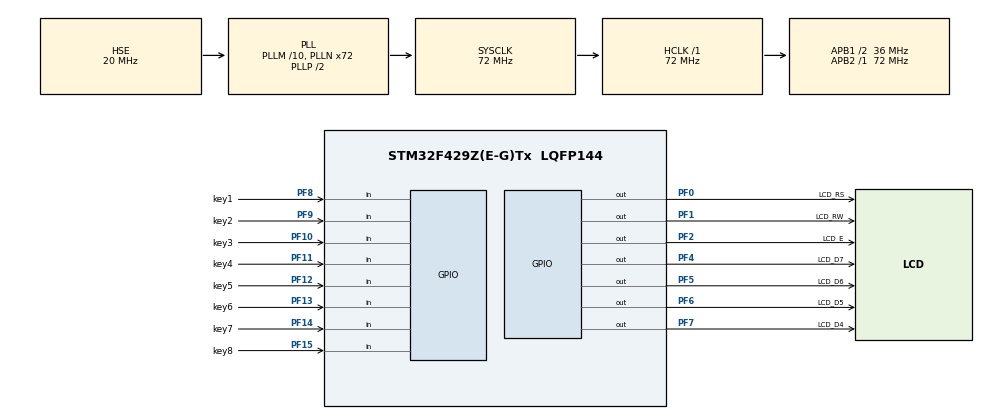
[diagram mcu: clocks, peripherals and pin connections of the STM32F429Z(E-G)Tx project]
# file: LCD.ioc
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Mcu.Family=STM32F4
Mcu.Name=STM32F429Z(E-G)Tx
Mcu.Package=LQFP144
NVIC.PriorityGroup=NVIC_PRIORITYGROUP_4
PF0.GPIO_Label=LCD_RS
PF0.Signal=GPIO_Output
PF1.GPIO_Label=LCD_RW
PF1.Signal=GPIO_Output
PF10.GPIO_Label=key3
PF10.GPIO_PuPd=GPIO_PULLUP
PF10.Signal=GPIO_Input
PF11.GPIO_Label=key4
PF11.GPIO_PuPd=GPIO_PULLUP
PF11.Signal=GPIO_Input
PF12.GPIO_Label=key5
PF12.GPIO_PuPd=GPIO_PULLUP
PF12.Signal=GPIO_Input
PF13.GPIO_Label=key6
PF13.GPIO_PuPd=GPIO_PULLUP
PF13.Signal=GPIO_Input
PF14.GPIO_Label=key7
PF14.GPIO_PuPd=GPIO_PULLUP
PF14.Signal=GPIO_Input
PF15.GPIO_Label=key8
PF15.GPIO_PuPd=GPIO_PULLUP
PF15.Signal=GPIO_Input
PF2.GPIO_Label=LCD_E
PF2.Signal=GPIO_Output
PF4.GPIO_Label=LCD_D7
PF4.Signal=GPIO_Output
PF5.GPIO_Label=LCD_D6
PF5.Signal=GPIO_Output
PF6.GPIO_Label=LCD_D5
PF6.Signal=GPIO_Output
PF7.GPIO_Label=LCD_D4
PF7.Signal=GPIO_Output
PF8.GPIO_Label=key1
PF8.GPIO_PuPd=GPIO_PULLUP
PF8.Signal=GPIO_Input
PF9.GPIO_Label=key2
PF9.GPIO_PuPd=GPIO_PULLUP
PF9.Signal=GPIO_Input
PH0/OSC_IN.Mode=HSE-External-Oscillator
PH0/OSC_IN.Signal=RCC_OSC_IN
PH1/OSC_OUT.Mode=HSE-External-Oscillator
PH1/OSC_OUT.Signal=RCC_OSC_OUT
ProjectManager.HeapSize=0x200
ProjectManager.StackSize=0x400
ProjectManager.TargetToolchain=MDK-ARM V5
RCC.48MHZClocksFreq_Value=36000000
RCC.AHBFreq_Value=72000000
RCC.APB1CLKDivider=RCC_HCLK_DIV2
RCC.APB1Freq_Value=36000000
RCC.APB1TimFreq_Value=72000000
RCC.APB2Freq_Value=72000000
RCC.APB2TimFreq_Value=72000000
RCC.CortexFreq_Value=72000000
RCC.HCLKFreq_Value=72000000
RCC.HSE_VALUE=20000000
RCC.HSI_VALUE=16000000
RCC.LSE_VALUE=32768
RCC.PLLM=10
RCC.PLLN=72
RCC.PLLSourceVirtual=RCC_PLLSOURCE_HSE
RCC.SYSCLKFreq_VALUE=72000000
RCC.SYSCLKSource=RCC_SYSCLKSOURCE_PLLCLK
RCC.VCOOutputFreq_Value=144000000
board=custom

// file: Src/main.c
/* USER CODE BEGIN Header */
/**
  ******************************************************************************
  * @file           : main.c
  * @brief          : Main program body
  ******************************************************************************
  * @attention
  *
  * <h2><center>&copy; Copyright (c) 2019 STMicroelectronics.
  * All rights reserved.</center></h2>
  *
  * This software component is licensed by ST under BSD 3-Clause license,
  * the "License"; You may not use this file except in compliance with the
  * License. You may obtain a copy of the License at:
  *                        opensource.org/licenses/BSD-3-Clause
  *
  ******************************************************************************
  */
/* USER CODE END Header */

#include "main.h"

/* USER CODE BEGIN Includes */
#include "LCD_Character.h"
#include "tm_stm32f4_hd44780.h"
#include "stdio.h"
#include "stdlib.h"
/* USER CODE END Includes */

/* USER CODE BEGIN PV */

char		i,j;
/* USER CODE END PV */

void SystemClock_Config(void);
static void MX_GPIO_Init(void);
/* USER CODE BEGIN PFP */
void ShowNumberOnLCD1(char n);
void ShowNumberOnLCD2(char n);
char ReadButton(void);
/* USER CODE END PFP */

int main(void)
{

  /* MCU Configuration--------------------------------------------------------*/

  /* Reset of all peripherals, Initializes the Flash interface and the Systick. */
  HAL_Init();

  /* Configure the system clock */
  SystemClock_Config();

  /* Initialize all configured peripherals */
  MX_GPIO_Init();
  /* USER CODE BEGIN 2 */
	TM_HD44780_Init( 16 , 2 );
  //TM_HD44780_Puts( 0 , 0 , "1 2 3 4 5 6 7 8 9 10 11 12 13 14" );
	//HAL_Delay(1000);
	HAL_Delay(1000);
	TM_HD44780_Puts( 3 , 0 , "Starting..." );
	TM_HD44780_Puts( 4 , 1 , "ARC1400" );
	HAL_Delay(2000);
	TM_HD44780_DisplayOff();
	TM_HD44780_Clear();
	TM_HD44780_DisplayOn();

	TM_HD44780_Puts( 0 , 0 ,"FREQ : ");
	TM_HD44780_Puts( 0 , 1 , "Channel : " );
  /* USER CODE END 2 */

  /* Infinite loop */
  /* USER CODE BEGIN WHILE */
  while (1)
  {

		/*********************Frequency***********************/

		if(ReadButton()==1)
		{
			while(ReadButton()==1);
			i++;
      if(i==100)	i=0;
      ShowNumberOnLCD1(i);
		}
		else if(ReadButton()==2)
    {
       while(ReadButton()==2);
       i--;
       if(i==255)	i=99;
       ShowNumberOnLCD1(i);
     }
		else if(ReadButton()==3)
		{
			while(ReadButton()==3);
			j++;
      if(j==10)	j=0;
      ShowNumberOnLCD2(j);
		}
		else if(ReadButton()==4)
    {
       while(ReadButton()==4);
       j--;
       if(j==255)	j=9;
       ShowNumberOnLCD2(j);
    }

		/*********************Channels************************/
		if((HAL_GPIO_ReadPin(key1_GPIO_Port,key1_Pin)) == 0)
		{
			TM_HD44780_Puts( 10 , 1 , "1" );
    }
		if((HAL_GPIO_ReadPin(key2_GPIO_Port,key2_Pin)) == 0)
		{
			TM_HD44780_Puts( 10 , 1 , "2");
		}
		if((HAL_GPIO_ReadPin(key3_GPIO_Port,key3_Pin)) == 0)
		{
			TM_HD44780_Puts( 10 , 1 , "3");
		}
		if((HAL_GPIO_ReadPin(key4_GPIO_Port,key4_Pin)) == 0)
		{
			TM_HD44780_Puts( 10 , 1 , "4");
		}

    /* USER CODE END WHILE */

  }
}

void SystemClock_Config(void)
{
  RCC_OscInitTypeDef RCC_OscInitStruct = {0};
  RCC_ClkInitTypeDef RCC_ClkInitStruct = {0};

  /** Configure the main internal regulator output voltage
  */
  __HAL_RCC_PWR_CLK_ENABLE();
  __HAL_PWR_VOLTAGESCALING_CONFIG(PWR_REGULATOR_VOLTAGE_SCALE3);
  /** Initializes the CPU, AHB and APB busses clocks
  */
  RCC_OscInitStruct.OscillatorType = RCC_OSCILLATORTYPE_HSE;
  RCC_OscInitStruct.HSEState = RCC_HSE_ON;
  RCC_OscInitStruct.PLL.PLLState = RCC_PLL_ON;
  RCC_OscInitStruct.PLL.PLLSource = RCC_PLLSOURCE_HSE;
  RCC_OscInitStruct.PLL.PLLM = 10;
  RCC_OscInitStruct.PLL.PLLN = 72;
  RCC_OscInitStruct.PLL.PLLP = RCC_PLLP_DIV2;
  RCC_OscInitStruct.PLL.PLLQ = 4;
  if (HAL_RCC_OscConfig(&RCC_OscInitStruct) != HAL_OK)
  {
    Error_Handler();
  }
  /** Initializes the CPU, AHB and APB busses clocks
  */
  RCC_ClkInitStruct.ClockType = RCC_CLOCKTYPE_HCLK|RCC_CLOCKTYPE_SYSCLK
                              |RCC_CLOCKTYPE_PCLK1|RCC_CLOCKTYPE_PCLK2;
  RCC_ClkInitStruct.SYSCLKSource = RCC_SYSCLKSOURCE_PLLCLK;
  RCC_ClkInitStruct.AHBCLKDivider = RCC_SYSCLK_DIV1;
  RCC_ClkInitStruct.APB1CLKDivider = RCC_HCLK_DIV2;
  RCC_ClkInitStruct.APB2CLKDivider = RCC_HCLK_DIV1;

  if (HAL_RCC_ClockConfig(&RCC_ClkInitStruct, FLASH_LATENCY_2) != HAL_OK)
  {
    Error_Handler();
  }
}

static void MX_GPIO_Init(void)
{
  GPIO_InitTypeDef GPIO_InitStruct = {0};

  /* GPIO Ports Clock Enable */
  __HAL_RCC_GPIOF_CLK_ENABLE();
  __HAL_RCC_GPIOH_CLK_ENABLE();

  /*Configure GPIO pin Output Level */
  HAL_GPIO_WritePin(GPIOF, LCD_RS_Pin|LCD_RW_Pin|LCD_E_Pin|LCD_D7_Pin
                          |LCD_D6_Pin|LCD_D5_Pin|LCD_D4_Pin, GPIO_PIN_RESET);

  /*Configure GPIO pins : LCD_RS_Pin LCD_RW_Pin LCD_E_Pin LCD_D7_Pin
                           LCD_D6_Pin LCD_D5_Pin LCD_D4_Pin */
  GPIO_InitStruct.Pin = LCD_RS_Pin|LCD_RW_Pin|LCD_E_Pin|LCD_D7_Pin
                          |LCD_D6_Pin|LCD_D5_Pin|LCD_D4_Pin;
  GPIO_InitStruct.Mode = GPIO_MODE_OUTPUT_PP;
  GPIO_InitStruct.Pull = GPIO_NOPULL;
  GPIO_InitStruct.Speed = GPIO_SPEED_FREQ_LOW;
  HAL_GPIO_Init(GPIOF, &GPIO_InitStruct);

  /*Configure GPIO pins : key1_Pin key2_Pin key3_Pin key4_Pin
                           key5_Pin key6_Pin key7_Pin key8_Pin */
  GPIO_InitStruct.Pin = key1_Pin|key2_Pin|key3_Pin|key4_Pin
                          |key5_Pin|key6_Pin|key7_Pin|key8_Pin;
  GPIO_InitStruct.Mode = GPIO_MODE_INPUT;
  GPIO_InitStruct.Pull = GPIO_PULLUP;
  HAL_GPIO_Init(GPIOF, &GPIO_InitStruct);

}

/* USER CODE BEGIN 4 */
/***************************************************************/
char ReadButton(void)
{
    if((HAL_GPIO_ReadPin(key5_GPIO_Port,key5_Pin)) == 0)
        return 1;
    else if((HAL_GPIO_ReadPin(key6_GPIO_Port,key6_Pin)) == 0)
        return 2;
		else if((HAL_GPIO_ReadPin(key7_GPIO_Port,key7_Pin)) == 0)
        return 3;
    else if((HAL_GPIO_ReadPin(key8_GPIO_Port,key8_Pin)) == 0)
        return 4;
		else
        return 0;
}

void ShowNumberOnLCD1(char n)
{
    char Buffer1[3];

    sprintf(Buffer1,"%d ", n);
    TM_HD44780_Puts(8,0,Buffer1);
}

void ShowNumberOnLCD2(char n)
{
    char Buffer2[2];

    sprintf(Buffer2,"%d", n);
    TM_HD44780_Puts(10,0,Buffer2);
}
/*****************************************************************/

/* USER CODE END 4 */

void Error_Handler(void)
{
}

/************************ (C) COPYRIGHT STMicroelectronics *****END OF FILE****/
